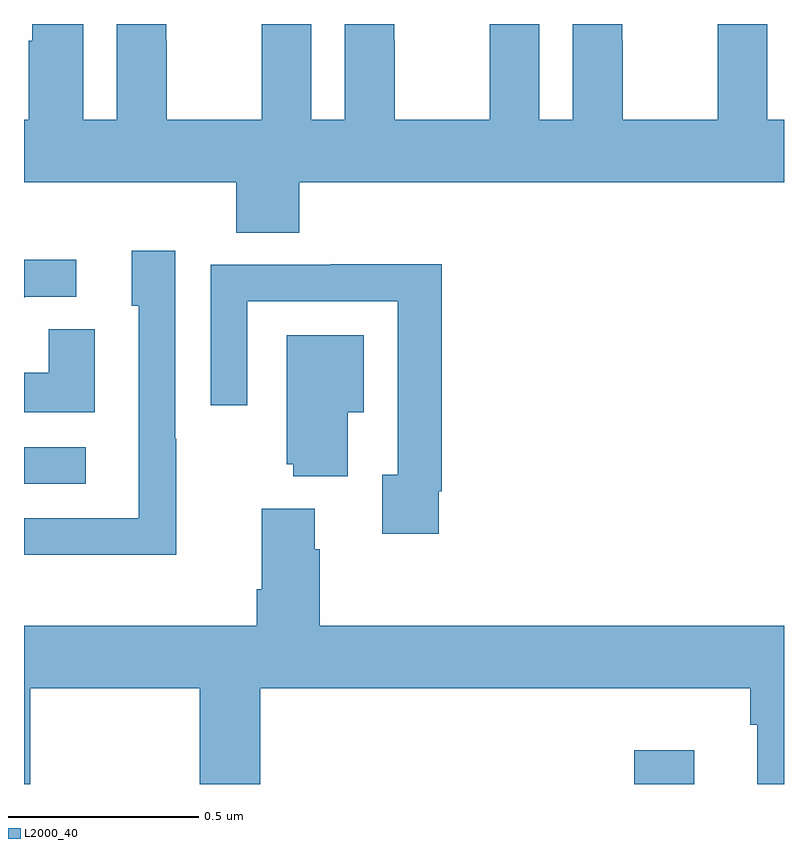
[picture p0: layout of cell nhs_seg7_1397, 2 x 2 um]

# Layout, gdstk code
import gdstk
lib = gdstk.Library(unit=1e-6, precision=1e-09)
def R(c, l, rs):  # rectangles x0, y0, x1, y1
    for r in rs: c.add(gdstk.rectangle(r[:2], r[2:], *l))
def P(c, l, *ps):  # polygons
    for p in ps: c.add(gdstk.Polygon(p, *l))
L2000_40 = (2000, 40)

nhs_seg7_1397 = lib.new_cell('nhs_seg7_1397')
R(nhs_seg7_1397, L2000_40, [(131.606,1031,131.764,1031.089), (130,1031.79,130.162,1031.886)])
P(nhs_seg7_1397, L2000_40, [(130.724,1032.584),(132,1032.584),(132,1032.748),(131.956,1032.748),(131.956,1033),(131.826,1033),(131.826,1032.956),(131.825,1032.956),(131.825,1032.748),(131.575,1032.748),(131.575,1032.956),(131.574,1032.956),(131.574,1033),(131.444,1033),(131.444,1032.748),(131.356,1032.748),(131.356,1033),(131.226,1033),(131.226,1032.956),(131.225,1032.956),(131.225,1032.748),(130.975,1032.748),(130.975,1032.956),(130.974,1032.956),(130.974,1033),(130.844,1033),(130.844,1032.748),(130.756,1032.748),(130.756,1033),(130.626,1033),(130.626,1032.956),(130.625,1032.956),(130.625,1032.748),(130.375,1032.748),(130.375,1032.956),(130.374,1032.956),(130.374,1033),(130.244,1033),(130.244,1032.748),(130.156,1032.748),(130.156,1033),(130.022,1033),(130.022,1032.956),(130.013,1032.956),(130.013,1032.748),(130,1032.748),(130,1032.584),(130.559,1032.584),(130.559,1032.451),(130.724,1032.451)],
  [(130.401,1031.909),(130.398,1031.909),(130.398,1032.403),(130.283,1032.403),(130.283,1032.258),(130.302,1032.258),(130.302,1031.7),(130,1031.7),(130,1031.603),(130.401,1031.603)],
  [(130.003,1032.282),(130.138,1032.282),(130.138,1032.38),(130,1032.38),(130,1032.279)],
  [(131.092,1031.77),(131.099,1031.77),(131.099,1032.368),(130.807,1032.368),(130.807,1032.366),(130.491,1032.366),(130.491,1031.997),(130.587,1031.997),(130.587,1032.27),(130.983,1032.27),(130.983,1031.814),(130.943,1031.814),(130.943,1031.658),(131.092,1031.658)],
  [(130.186,1032.197),(130.065,1032.197),(130.065,1032.082),(130,1032.082),(130,1031.978),(130.186,1031.978)],
  [(130.852,1031.978),(130.894,1031.978),(130.894,1032.181),(130.691,1032.181),(130.691,1031.841),(130.709,1031.841),(130.709,1031.81),(130.852,1031.81)],
  [(130.017,1031.252),(130.462,1031.252),(130.462,1031),(130.622,1031),(130.622,1031.252),(131.911,1031.252),(131.911,1031.156),(131.93,1031.156),(131.93,1031),(132,1031),(132,1031.416),(130.778,1031.416),(130.778,1031.618),(130.765,1031.618),(130.765,1031.725),(130.625,1031.725),(130.625,1031.512),(130.613,1031.512),(130.613,1031.416),(130,1031.416),(130,1031),(130.017,1031)])

lib.write_gds('nhs_seg7_1397.gds')
